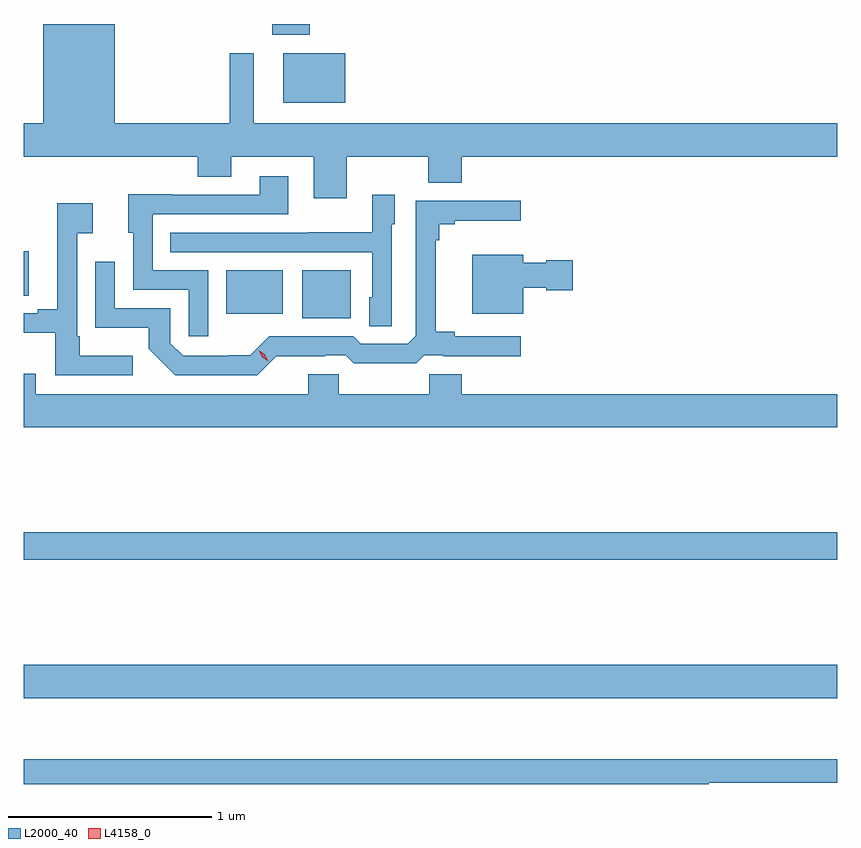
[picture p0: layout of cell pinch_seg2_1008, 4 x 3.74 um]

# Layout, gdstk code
import gdstk
lib = gdstk.Library(unit=1e-6, precision=1e-09)
def R(c, l, rs):  # rectangles x0, y0, x1, y1
    for r in rs: c.add(gdstk.rectangle(r[:2], r[2:], *l))
def P(c, l, *ps):  # polygons
    for p in ps: c.add(gdstk.Polygon(p, *l))
L2000_40 = (2000, 40)
L4158_0 = (4158, 0)

pinch_seg2_1008 = lib.new_cell('pinch_seg2_1008')
R(pinch_seg2_1008, L2000_40, [(371.048,593.024,375.048,593.188), (371.048,593.704,375.048,593.84), (372.416,594.893,372.655,595.129), (372.044,594.914,372.322,595.129), (371.048,595.003,371.071,595.222), (372.323,595.952,372.628,596.197), (372.27,596.288,372.453,596.34)])
P(pinch_seg2_1008, L2000_40, [(372.637,595.688),(373.037,595.688),(373.037,595.56),(373.201,595.56),(373.201,595.688),(375.048,595.688),(375.048,595.852),(372.178,595.852),(372.178,596.197),(372.061,596.197),(372.061,595.852),(371.494,595.852),(371.494,596.34),(371.144,596.34),(371.144,595.852),(371.048,595.852),(371.048,595.688),(371.903,595.688),(371.903,595.589),(372.067,595.589),(372.067,595.688),(372.473,595.688),(372.473,595.482),(372.637,595.482)],
  [(371.955,595.128),(371.682,595.128),(371.682,595.404),(372.349,595.404),(372.349,595.591),(372.209,595.591),(372.209,595.5),(371.779,595.5),(371.779,595.502),(371.561,595.502),(371.561,595.314),(371.586,595.314),(371.586,595.032),(371.859,595.032),(371.859,594.804),(371.955,594.804)],
  [(372.858,595.356),(372.871,595.356),(372.871,595.501),(372.762,595.501),(372.762,595.315),(372.445,595.315),(372.445,595.314),(371.767,595.314),(371.767,595.218),(372.762,595.218),(372.762,594.996),(372.746,594.996),(372.746,594.853),(372.858,594.853)],
  [(372.29,594.707),(372.53,594.707),(372.53,594.711),(372.63,594.711),(372.67,594.672),(372.977,594.672),(373.017,594.711),(373.111,594.711),(373.111,594.707),(373.492,594.707),(373.492,594.804),(373.168,594.804),(373.168,594.827),(373.073,594.827),(373.073,595.277),(373.091,595.277),(373.091,595.354),(373.168,595.354),(373.168,595.373),(373.492,595.373),(373.492,595.47),(372.975,595.47),(372.975,594.807),(372.936,594.768),(372.705,594.768),(372.669,594.804),(372.255,594.804),(372.161,594.71),(372.056,594.71),(372.056,594.708),(371.832,594.708),(371.769,594.771),(371.769,594.942),(371.496,594.942),(371.496,595.171),(371.4,595.171),(371.4,594.845),(371.662,594.845),(371.662,594.743),(371.792,594.612),(372.195,594.612)],
  [(371.584,594.709),(371.323,594.709),(371.323,594.805),(371.31,594.805),(371.31,595.31),(371.386,595.31),(371.386,595.459),(371.213,595.459),(371.213,594.937),(371.117,594.937),(371.117,594.918),(371.048,594.918),(371.048,594.821),(371.202,594.821),(371.202,594.612),(371.584,594.612)],
  [(373.504,595.043),(373.617,595.043),(373.617,595.031),(373.747,595.031),(373.747,595.178),(373.617,595.178),(373.617,595.165),(373.504,595.165),(373.504,595.204),(373.253,595.204),(373.253,594.914),(373.504,594.914)],
  [(375.048,594.52),(373.202,594.52),(373.202,594.618),(373.042,594.618),(373.042,594.52),(372.597,594.52),(372.597,594.618),(372.446,594.618),(372.446,594.52),(371.107,594.52),(371.107,594.619),(371.048,594.619),(371.048,594.356),(375.048,594.356)],
  [(374.416,592.609),(375.048,592.609),(375.048,592.723),(371.048,592.723),(371.048,592.602),(374.416,592.602)])
P(pinch_seg2_1008, L4158_0, [(372.251,594.681),(372.22,594.702),(372.203,594.735),(372.203,594.735),(372.203,594.735),(372.234,594.715),(372.251,594.681),(372.251,594.681)])

lib.write_gds('pinch_seg2_1008.gds')
